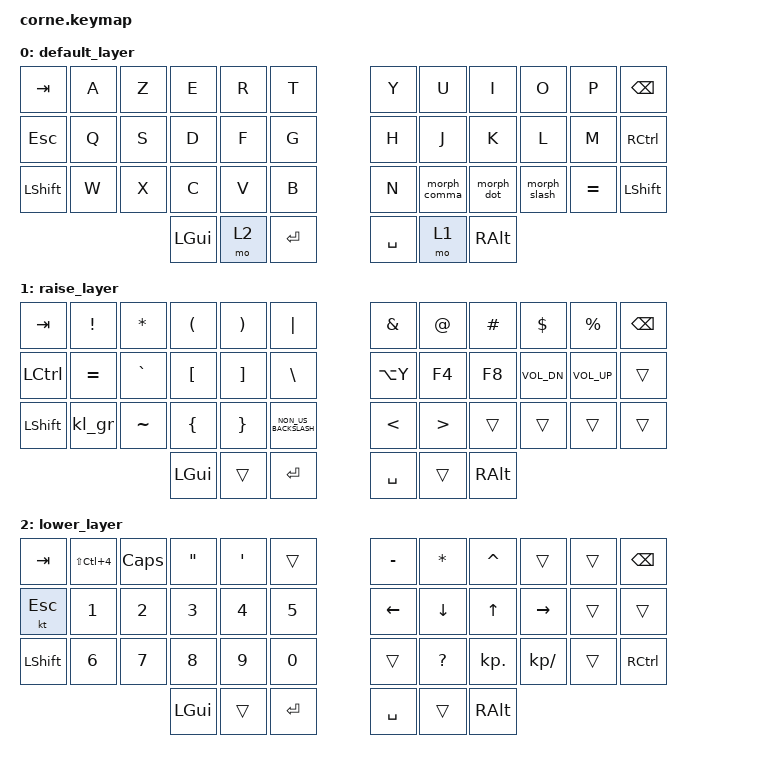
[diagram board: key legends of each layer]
/*
 * Copyright (c) 2020 The ZMK Contributors
 *
 * SPDX-License-Identifier: MIT
 */

#include <behaviors.dtsi>
#include <dt-bindings/zmk/keys.h>
#include <dt-bindings/zmk/keys.h>

/ {
    behaviors {
        morph_comma: comma_question {
            compatible = "zmk,behavior-mod-morph";
            #binding-cells = <0>;
            bindings = <&kp COMMA>, <&kp QUESTION>;

            mods = <(MOD_LSFT)>;
        };

        morph_dot: dot_colon {
            compatible = "zmk,behavior-mod-morph";
            #binding-cells = <0>;
            bindings = <&kp SEMICOLON>, <&kp KP_DOT>;

            mods = <(MOD_LSFT)>;
        };

        morph_slash: semicolon_slash {
            compatible = "zmk,behavior-mod-morph";
            #binding-cells = <0>;
            bindings = <&kp COLON>, <&kp KP_SLASH>;

            mods = <(MOD_LSFT)>;
        };

        kl_gr: kl_gr {
            compatible = "zmk,behavior-mod-morph";
            label = "KL_GR";
            bindings = <&kp LESS_THAN>, <&kp GREATER_THAN>;

            #binding-cells = <0>;
            mods = <(MOD_LSFT|MOD_RSFT)>;
        };
    };

    keymap {
        compatible = "zmk,keymap";

        default_layer {
            // -----------------------------------------------------------------------------------------
            // |  TAB |  A  |  Z  |  E  |  R  |  T  |   |  Y  |  U   |  I  |  O  |  P  | BSPC |
            // | CTRL |  Q  |  S  |  D  |  F  |  G  |   |  H  |  J   |  K  |  L  |  M  |  '   |
            // | SHFT |  W  |  X  |  C  |  V  |  B  |   |  N  |  ,   |  ;  |  .  |  /  | ESC  |
            //                    | GUI | LWR | ENT |   | SPC | RSE  | ALT |

            bindings = <
&kp TAB     &kp A  &kp Z  &kp E     &kp R  &kp T        &kp Y      &kp U         &kp I          &kp O         &kp P      &kp BSPC
&kp ESCAPE  &kp Q  &kp S  &kp D     &kp F  &kp G        &kp H      &kp J         &kp K          &kp L         &kp M      &kp RIGHT_CONTROL
&kp LSHFT   &kp W  &kp X  &kp C     &kp V  &kp B        &kp N      &morph_comma  &morph_dot     &morph_slash  &kp EQUAL  &kp LEFT_SHIFT
                          &kp LGUI  &mo 2  &kp ENTER    &kp SPACE  &mo 1         &kp RIGHT_ALT
            >;
        };

        raise_layer {
            // -----------------------------------------------------------------------------------------
            // |  TAB |  !  |  @  |  #  |  $  |  %  |   |  ^  |  &  |  *  |  (  |  )  | BSPC |
            // | CTRL |     |     |     |     |     |   |  -  |  =  |  [  |  ]  |  \  |  `   |
            // | SHFT |     |     |     |     |     |   |  _  |  +  |  {  |  }  | "|" |  ~   |
            //                    | GUI |     | ENT |   | SPC |     | ALT |

            bindings = <
&kp TAB         &kp EXCL   &kp ASTERISK  &kp LEFT_PARENTHESIS  &kp RIGHT_PARENTHESIS  &kp PIPE                &kp AMPERSAND  &kp AT_SIGN       &kp HASH  &kp DOLLAR    &kp PERCENT      &kp BSPC
&kp LCTRL       &kp EQUAL  &kp GRAVE     &kp LEFT_BRACKET      &kp RIGHT_BRACKET      &kp BACKSLASH           &kp LA(Y)      &kp F4            &kp F8    &kp C_VOL_DN  &kp C_VOLUME_UP  &trans
&kp LEFT_SHIFT  &kl_gr     &kp TILDE     &kp LEFT_BRACE        &kp RIGHT_BRACE        &kp NON_US_BACKSLASH    &kp LESS_THAN  &kp GREATER_THAN  &trans    &trans        &trans           &trans
                                         &kp LGUI              &trans                 &kp ENTER               &kp SPACE      &trans            &kp RALT
            >;
        };

        lower_layer {
            // -----------------------------------------------------------------------------------------
            // |  TAB |  1  |  2  |  3  |  4  |  5  |   |  6  |  7  |  8  |  9  |  0  | BSPC |
            // | BTCLR| BT1 | BT2 | BT3 | BT4 | BT5 |   | LFT | DWN |  UP | RGT |     |      |
            // | SHFT |     |     |     |     |     |   |     |     |     |     |     |      |
            //                    | GUI |     | ENT |   | SPC |     | ALT |

            bindings = <
&kp TAB     &kp LS(LC(NUMBER_4))  &kp CLCK      &kp DOUBLE_QUOTES  &kp SQT       &trans       &kp MINUS  &kp ASTERISK  &kp CARET   &trans        &trans  &kp BSPC
&kt ESCAPE  &kp NUMBER_1          &kp NUMBER_2  &kp NUMBER_3       &kp NUMBER_4  &kp N5       &kp LEFT   &kp DOWN      &kp UP      &kp RIGHT     &trans  &trans
&kp LSHFT   &kp NUMBER_6          &kp N7        &kp N8             &kp N9        &kp N0       &trans     &kp QUESTION  &kp KP_DOT  &kp KP_SLASH  &trans  &kp RCTRL
                                                &kp LGUI           &trans        &kp ENTER    &kp SPACE  &trans        &kp RALT
            >;
        };
    };
};
